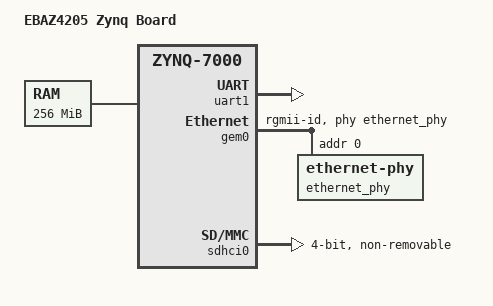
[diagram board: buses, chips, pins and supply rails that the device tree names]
/dts-v1/;
#include "zynq-7000.dtsi"

/ {
    model = "EBAZ4205 Zynq Board";
    compatible = "xlnx,zynq-7000";

    aliases {
        ethernet0 = &gem0;
        serial0 = &uart1;
    };

    memory@0 {
        device_type = "memory";
        reg = <0x0 0x10000000>; /* 256MB physical limit */
    };

    chosen {
        bootargs = "console=ttyPS1,115200 root=/dev/mmcblk0p2 rw rootwait";
        stdout-path = "serial0:115200n8";
    };
};

&uart1 {
    status = "okay";
};

&gem0 {
    status = "okay";
    phy-mode = "rgmii-id";
    phy-handle = <&ethernet_phy>;

    ethernet_phy: ethernet-phy@0 {
        reg = <0>;
        device_type = "ethernet-phy";
    };
};

&sdhci0 {
    status = "okay";
    non-removable;
    bus-width = <4>;
};
